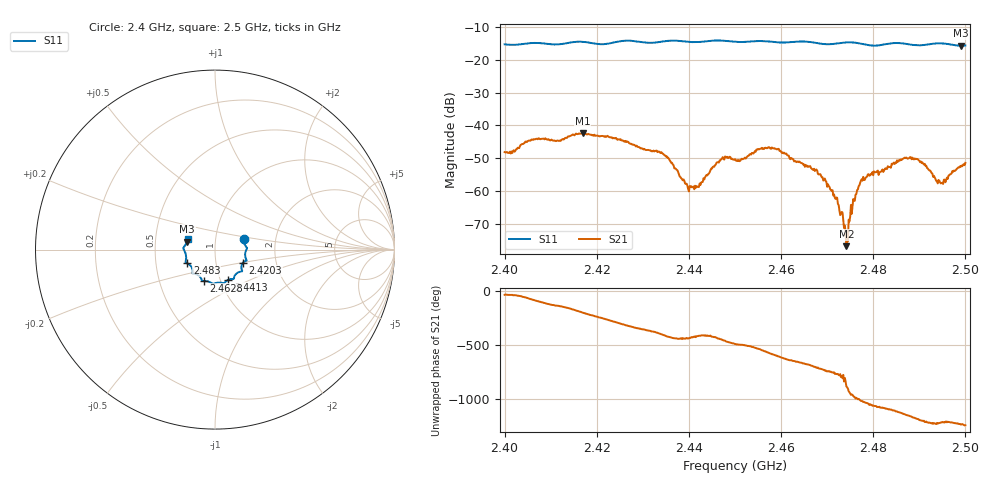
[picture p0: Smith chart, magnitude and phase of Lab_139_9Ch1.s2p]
# Hz S RI R 50
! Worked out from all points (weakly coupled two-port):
!   601 points, 2.4 GHz to 2.5 GHz, reference 50 ohm
!   highest |S21| = -42.30 dB at 2.417 GHz (marker M1); lowest = -76.6 dB at 2.4742 GHz (marker M2)
!   lowest |S11| = -15.8 dB at 2.499 GHz (marker M3), VSWR 1.39, Z = 36.4 + j3.37 ohm
!   |S11| at or under -10 dB: start of sweep to end of sweep
!   S12 and S22 are empty: the file has one direction only
!   S11 on the Smith chart (normalised r, x): 2.4 GHz: 1.37, +0.16; 2.4203 GHz: 1.35, -0.21; 2.4413 GHz: 1.09, -0.38; 2.4628 GHz: 0.83, -0.30; 2.483 GHz: 0.72, -0.11; 2.5 GHz: 0.73, +0.09
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2.4e9  0.1606 0.057  0.0032 -0.00232  0 0  0 0
2.416667e9  0.176 -0.0611  -0.00724 0.00216  0 0  0 0
2.417e9  0.1752 -0.0617  -0.0071 0.0029  0 0  0 0
2.420333e9  0.1555 -0.0738  -0.00312 0.0062  0 0  0 0
2.433333e9  0.108 -0.1483  0.00345 -0.00209  0 0  0 0
2.439667e9  0.0889 -0.1637  0.000226 -0.0012  0 0  0 0
2.441333e9  0.0744 -0.1681  0.000604 -0.00106  0 0  0 0
2.447e9  0.047 -0.1885  0.000103 -0.00308  0 0  0 0
2.45e9  0.0294 -0.1837  -0.0021 -0.00226  0 0  0 0
2.457e9  -0.0168 -0.1882  -0.00394 0.00221  0 0  0 0
2.462833e9  -0.063 -0.1748  0.000965 0.00268  0 0  0 0
2.466667e9  -0.0743 -0.1675  0.00196 0.001  0 0  0 0
2.471667e9  -0.1079 -0.1362  0.000534 -0.000596  0 0  0 0
2.474167e9  -0.1234 -0.1343  -0.000142 -4e-05  0 0  0 0
2.475667e9  -0.1251 -0.1319  -0.000227 0.000733  0 0  0 0
2.477333e9  -0.1241 -0.1221  0.00071 0.00128  0 0  0 0
2.483e9  -0.1549 -0.0767  0.00215 -0.000453  0 0  0 0
2.483333e9  -0.1569 -0.0755  0.00222 -0.000733  0 0  0 0
2.4895e9  -0.161 -0.035  -0.00085 -0.00298  0 0  0 0
2.494667e9  -0.1759 0.00938  -0.000982 -0.000886  0 0  0 0
2.499e9  -0.1556 0.0451  -0.0022 -0.000874  0 0  0 0
2.5e9  -0.1526 0.0586  -0.00261 -0.000719  0 0  0 0
